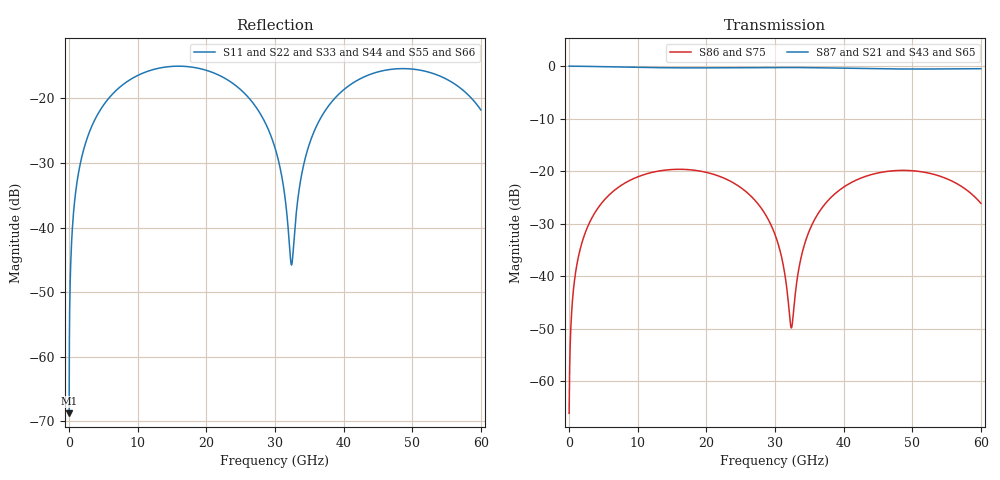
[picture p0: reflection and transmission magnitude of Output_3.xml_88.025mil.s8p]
# Hz S ri R 50
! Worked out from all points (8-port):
!   1500 points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, 40 MHz to 60 GHz, reference 50 ohm
!   strongest paths, dB at 40 MHz, 15.04 GHz, 30.04 GHz, 45.04 GHz, 60 GHz:
!     S87: 0.0, -0.3, -0.2, -0.5, -0.5
!     S21: 0.0, -0.3, -0.2, -0.5, -0.5
!     S43: 0.0, -0.3, -0.2, -0.5, -0.5
!     S65: 0.0, -0.3, -0.2, -0.5, -0.5
!     S86: -66.1, -19.7, -32.1, -20.3, -26.1
!     S75: -66.1, -19.7, -32.1, -20.3, -26.1
!   lowest |S11| = -68.7 dB at 40 MHz (marker M1), VSWR 1.00, Z = 50 - j0.0357 ohm
!   |S11| at or under -10 dB: start of sweep to end of sweep
